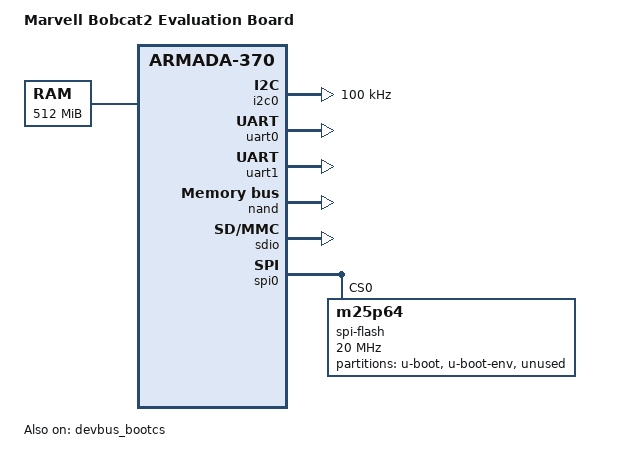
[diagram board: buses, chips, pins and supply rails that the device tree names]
/*
 * Device Tree file for DB-DXBC2 board
 *
 * Copyright (C) 2016 Allied Telesis Labs
 *
 * Based on armada-xp-db.dts
 *
 * This file is dual-licensed: you can use it either under the terms
 * of the GPL or the X11 license, at your option. Note that this dual
 * licensing only applies to this file, and not this project as a
 * whole.
 *
 *  a) This file is free software; you can redistribute it and/or
 *     modify it under the terms of the GNU General Public License as
 *     published by the Free Software Foundation; either version 2 of the
 *     License, or (at your option) any later version.
 *
 *     This file is distributed in the hope that it will be useful,
 *     but WITHOUT ANY WARRANTY; without even the implied warranty of
 *     MERCHANTABILITY or FITNESS FOR A PARTICULAR PURPOSE.  See the
 *     GNU General Public License for more details.
 *
 * Or, alternatively,
 *
 *  b) Permission is hereby granted, free of charge, to any person
 *     obtaining a copy of this software and associated documentation
 *     files (the "Software"), to deal in the Software without
 *     restriction, including without limitation the rights to use,
 *     copy, modify, merge, publish, distribute, sublicense, and/or
 *     sell copies of the Software, and to permit persons to whom the
 *     Software is furnished to do so, subject to the following
 *     conditions:
 *
 *     The above copyright notice and this permission notice shall be
 *     included in all copies or substantial portions of the Software.
 *
 *     THE SOFTWARE IS PROVIDED "AS IS", WITHOUT WARRANTY OF ANY KIND,
 *     EXPRESS OR IMPLIED, INCLUDING BUT NOT LIMITED TO THE WARRANTIES
 *     OF MERCHANTABILITY, FITNESS FOR A PARTICULAR PURPOSE AND
 *     NONINFRINGEMENT. IN NO EVENT SHALL THE AUTHORS OR COPYRIGHT
 *     HOLDERS BE LIABLE FOR ANY CLAIM, DAMAGES OR OTHER LIABILITY,
 *     WHETHER IN AN ACTION OF CONTRACT, TORT OR OTHERWISE, ARISING
 *     FROM, OUT OF OR IN CONNECTION WITH THE SOFTWARE OR THE USE OR
 *     OTHER DEALINGS IN THE SOFTWARE.
 *
 * Note: this Device Tree assumes that the bootloader has remapped the
 * internal registers to 0xf1000000 (instead of the default
 * 0xd0000000). The 0xf1000000 is the default used by the recent,
 * DT-capable, U-Boot bootloaders provided by Marvell. Some earlier
 * boards were delivered with an older version of the bootloader that
 * left internal registers mapped at 0xd0000000. If you are in this
 * situation, you should either update your bootloader (preferred
 * solution) or the below Device Tree should be adjusted.
 */

/dts-v1/;
#include "armada-xp-98dx4251.dtsi"

/ {
	model = "Marvell Bobcat2 Evaluation Board";
	compatible = "marvell,db-dxbc2", "marvell,armadaxp-98dx4251", "marvell,armadaxp", "marvell,armada-370-xp";

	chosen {
		bootargs = "console=ttyS0,115200 earlyprintk";
	};

	memory {
		device_type = "memory";
		reg = <0 0x00000000 0 0x20000000>; /* 512 MB */
	};

};

&devbus_bootcs {
	status = "okay";

	/* Device Bus parameters are required */

	/* Read parameters */
	devbus,bus-width    = <16>;
	devbus,turn-off-ps  = <60000>;
	devbus,badr-skew-ps = <0>;
	devbus,acc-first-ps = <124000>;
	devbus,acc-next-ps  = <248000>;
	devbus,rd-setup-ps  = <0>;
	devbus,rd-hold-ps   = <0>;

	/* Write parameters */
	devbus,sync-enable = <0>;
	devbus,wr-high-ps  = <60000>;
	devbus,wr-low-ps   = <60000>;
	devbus,ale-wr-ps   = <60000>;
};

&i2c0 {
	clock-frequency = <100000>;
	status = "okay";
};

&uart0 {
	status = "okay";
};

&uart1 {
	status = "okay";
};

&nand {
	status = "okay";
	num-cs = <1>;
	marvell,nand-keep-config;
	marvell,nand-enable-arbiter;
	nand-on-flash-bbt;
	nand-ecc-strength = <4>;
	nand-ecc-step-size = <512>;
};

&sdio {
	pinctrl-0 = <&sdio_pins>;
	pinctrl-names = "default";
	status = "okay";
	/* No CD or WP GPIOs */
	broken-cd;
};

&spi0 {
	status = "okay";

	spi-flash@0 {
		#address-cells = <1>;
		#size-cells = <1>;
		compatible = "m25p64";
		reg = <0>; /* Chip select 0 */
		spi-max-frequency = <20000000>;
		m25p,fast-read;

		partition@u-boot {
			reg = <0x00000000 0x00100000>;
			label = "u-boot";
		};
		partition@u-boot-env {
			reg = <0x00100000 0x00040000>;
			label = "u-boot-env";
		};
		partition@unused {
			reg = <0x00140000 0x00ec0000>;
			label = "unused";
		};

	};
};
